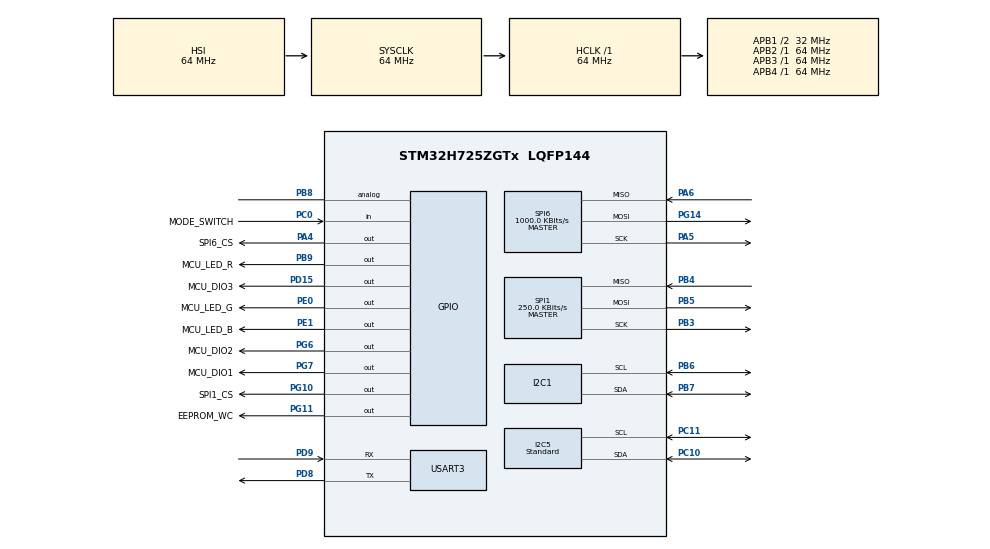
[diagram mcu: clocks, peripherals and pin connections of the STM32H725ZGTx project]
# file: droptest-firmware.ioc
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FREERTOS.INCLUDE_vTaskDelayUntil=1
FREERTOS.Tasks01=defaultTask,0,3072,StartDefaultTask,Default,NULL,Dynamic,NULL,NULL
I2C1.Timing=0x00707CBB
I2C5.I2C_Speed_Mode=I2C_Standard
I2C5.Timing=0x00707CBB
Mcu.Family=STM32H7
Mcu.Name=STM32H725ZGTx
Mcu.Package=LQFP144
NVIC.PriorityGroup=NVIC_PRIORITYGROUP_4
PA4.GPIO_Label=SPI6_CS
PA4.Signal=GPIO_Output
PA5.Mode=Full_Duplex_Master
PA5.Signal=SPI6_SCK
PA6.GPIO_PuPd=GPIO_NOPULL
PA6.Mode=Full_Duplex_Master
PA6.Signal=SPI6_MISO
PB3(JTDO/TRACESWO).Mode=Full_Duplex_Master
PB3(JTDO/TRACESWO).Signal=SPI1_SCK
PB4(NJTRST).Mode=Full_Duplex_Master
PB4(NJTRST).Signal=SPI1_MISO
PB5.Mode=Full_Duplex_Master
PB5.Signal=SPI1_MOSI
PB6.Mode=I2C
PB6.Signal=I2C1_SCL
PB7.Mode=I2C
PB7.Signal=I2C1_SDA
PB8.Signal=GPIO_Analog
PB9.GPIO_Label=MCU_LED_R
PB9.Signal=GPIO_Output
PC0.GPIO_Label=MODE_SWITCH
PC0.Signal=GPIO_Input
PC10.GPIO_Pu=GPIO_PULLUP
PC10.GPIO_Speed=GPIO_SPEED_FREQ_VERY_HIGH
PC10.Mode=I2C
PC10.Signal=I2C5_SDA
PC11.GPIO_Pu=GPIO_PULLUP
PC11.GPIO_Speed=GPIO_SPEED_FREQ_VERY_HIGH
PC11.Mode=I2C
PC11.Signal=I2C5_SCL
PD15.GPIO_Label=MCU_DIO3
PD15.Signal=GPIO_Output
PD8.Mode=Asynchronous
PD8.Signal=USART3_TX
PD9.Mode=Asynchronous
PD9.Signal=USART3_RX
PE0.GPIO_Label=MCU_LED_G
PE0.Signal=GPIO_Output
PE1.GPIO_Label=MCU_LED_B
PE1.Signal=GPIO_Output
PE11.Signal=SPI4_NSS
PE12.Signal=SPI4_SCK
PG10.GPIO_Label=SPI1_CS
PG10.Signal=GPIO_Output
PG11.GPIO_Label=EEPROM_WC
PG11.Signal=GPIO_Output
PG14.Mode=Full_Duplex_Master
PG14.Signal=SPI6_MOSI
PG6.GPIO_Label=MCU_DIO2
PG6.Signal=GPIO_Output
PG7.GPIO_Label=MCU_DIO1
PG7.Signal=GPIO_Output
PH0-OSC_IN.Mode=HSE-External-Oscillator
PH0-OSC_IN.Signal=RCC_OSC_IN
PH1-OSC_OUT.Mode=HSE-External-Oscillator
PH1-OSC_OUT.Signal=RCC_OSC_OUT
ProjectManager.HeapSize=0x200
ProjectManager.StackSize=0x400
ProjectManager.TargetToolchain=STM32CubeIDE
RCC.ADCFreq_Value=129000000
RCC.APB1Freq_Value=32000000
RCC.APB2Freq_Value=64000000
RCC.APB3Freq_Value=64000000
RCC.APB4Freq_Value=64000000
RCC.CortexFreq_Value=64000000
RCC.D2PPRE1=RCC_APB1_DIV2
RCC.DIVM1=4
RCC.DIVN1=12
RCC.DIVQ1=3
RCC.HCLKFreq_Value=64000000
RCC.PLLFRACN=0
RCC.SYSCLKFreq_VALUE=64000000
RCC.USBFreq_Value=64000000
SPI1.BaudRatePrescaler=SPI_BAUDRATEPRESCALER_256
SPI1.CLKPhase=SPI_PHASE_1EDGE
SPI1.CLKPolarity=SPI_POLARITY_LOW
SPI1.CalculateBaudRate=250.0 KBits/s
SPI1.DataSize=SPI_DATASIZE_8BIT
SPI1.Direction=SPI_DIRECTION_2LINES
SPI1.Mode=SPI_MODE_MASTER
SPI1.VirtualType=VM_MASTER
SPI6.BaudRatePrescaler=SPI_BAUDRATEPRESCALER_64
SPI6.CLKPhase=SPI_PHASE_1EDGE
SPI6.CLKPolarity=SPI_POLARITY_LOW
SPI6.CalculateBaudRate=1000.0 KBits/s
SPI6.DataSize=SPI_DATASIZE_8BIT
SPI6.Direction=SPI_DIRECTION_2LINES
SPI6.FirstBit=SPI_FIRSTBIT_MSB
SPI6.Mode=SPI_MODE_MASTER
SPI6.VirtualType=VM_MASTER
USART3.VirtualMode-Asynchronous=VM_ASYNC
VP_FREERTOS_VS_CMSIS_V1.Mode=CMSIS_V1
VP_PWR_V_PVD_IN.Mode=Mode_PVD_Int
board=custom

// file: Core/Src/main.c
/* USER CODE BEGIN Header */
/**
  ******************************************************************************
  * @file           : main.c
  * @brief          : Main program body
  ******************************************************************************
  * @attention
  *
  * Copyright (c) 2024 STMicroelectronics.
  * All rights reserved.
  *
  * This software is licensed under terms that can be found in the LICENSE file
  * in the root directory of this software component.
  * If no LICENSE file comes with this software, it is provided AS-IS.
  *
  ******************************************************************************
  */
/* USER CODE END Header */
#include "main.h"
#include "cmsis_os.h"

/* USER CODE BEGIN Includes */
#include "LSM6DSO32XTR.h"
#include "LPS22HBTR.h"
#include "W25N01GV.h"
/* USER CODE END Includes */

I2C_HandleTypeDef hi2c1;
I2C_HandleTypeDef hi2c5;

SPI_HandleTypeDef hspi1;
SPI_HandleTypeDef hspi6;

UART_HandleTypeDef huart3;

osThreadId defaultTaskHandle;

void SystemClock_Config(void);
static void MX_GPIO_Init(void);
static void MX_I2C1_Init(void);
static void MX_SPI1_Init(void);
static void MX_I2C5_Init(void);
static void MX_SPI6_Init(void);
static void MX_USART3_UART_Init(void);
void StartDefaultTask(void const * argument);

int main(void)
{

  /* MCU Configuration--------------------------------------------------------*/

  /* Reset of all peripherals, Initializes the Flash interface and the Systick. */
  HAL_Init();

  /* Configure the system clock */
  SystemClock_Config();

  /* Initialize all configured peripherals */
  MX_GPIO_Init();
  MX_I2C1_Init();
  MX_SPI1_Init();
  MX_I2C5_Init();
  MX_SPI6_Init();
  MX_USART3_UART_Init();

  /* Create the thread(s) */
  /* definition and creation of defaultTask */
  osThreadDef(defaultTask, StartDefaultTask, osPriorityNormal, 0, 3072);
  defaultTaskHandle = osThreadCreate(osThread(defaultTask), NULL);

  /* Start scheduler */
  osKernelStart();

  /* We should never get here as control is now taken by the scheduler */
  /* Infinite loop */
  while (1)
  {

  }
}

void SystemClock_Config(void)
{
  RCC_OscInitTypeDef RCC_OscInitStruct = {0};
  RCC_ClkInitTypeDef RCC_ClkInitStruct = {0};

  /** Supply configuration update enable
  */
  HAL_PWREx_ConfigSupply(PWR_DIRECT_SMPS_SUPPLY);

  /** Configure the main internal regulator output voltage
  */
  __HAL_PWR_VOLTAGESCALING_CONFIG(PWR_REGULATOR_VOLTAGE_SCALE3);

  while(!__HAL_PWR_GET_FLAG(PWR_FLAG_VOSRDY)) {}

  /** Initializes the RCC Oscillators according to the specified parameters
  * in the RCC_OscInitTypeDef structure.
  */
  RCC_OscInitStruct.OscillatorType = RCC_OSCILLATORTYPE_HSI;
  RCC_OscInitStruct.HSIState = RCC_HSI_DIV1;
  RCC_OscInitStruct.HSICalibrationValue = 64;
  RCC_OscInitStruct.PLL.PLLState = RCC_PLL_ON;
  RCC_OscInitStruct.PLL.PLLSource = RCC_PLLSOURCE_HSI;
  RCC_OscInitStruct.PLL.PLLM = 4;
  RCC_OscInitStruct.PLL.PLLN = 12;
  RCC_OscInitStruct.PLL.PLLP = 2;
  RCC_OscInitStruct.PLL.PLLQ = 3;
  RCC_OscInitStruct.PLL.PLLR = 2;
  RCC_OscInitStruct.PLL.PLLRGE = RCC_PLL1VCIRANGE_3;
  RCC_OscInitStruct.PLL.PLLVCOSEL = RCC_PLL1VCOWIDE;
  RCC_OscInitStruct.PLL.PLLFRACN = 0;
  if (HAL_RCC_OscConfig(&RCC_OscInitStruct) != HAL_OK)
  {
    Error_Handler();
  }

  /** Initializes the CPU, AHB and APB buses clocks
  */
  RCC_ClkInitStruct.ClockType = RCC_CLOCKTYPE_HCLK|RCC_CLOCKTYPE_SYSCLK
                              |RCC_CLOCKTYPE_PCLK1|RCC_CLOCKTYPE_PCLK2
                              |RCC_CLOCKTYPE_D3PCLK1|RCC_CLOCKTYPE_D1PCLK1;
  RCC_ClkInitStruct.SYSCLKSource = RCC_SYSCLKSOURCE_HSI;
  RCC_ClkInitStruct.SYSCLKDivider = RCC_SYSCLK_DIV1;
  RCC_ClkInitStruct.AHBCLKDivider = RCC_HCLK_DIV1;
  RCC_ClkInitStruct.APB3CLKDivider = RCC_APB3_DIV1;
  RCC_ClkInitStruct.APB1CLKDivider = RCC_APB1_DIV2;
  RCC_ClkInitStruct.APB2CLKDivider = RCC_APB2_DIV1;
  RCC_ClkInitStruct.APB4CLKDivider = RCC_APB4_DIV1;

  if (HAL_RCC_ClockConfig(&RCC_ClkInitStruct, FLASH_LATENCY_1) != HAL_OK)
  {
    Error_Handler();
  }
}

static void MX_I2C1_Init(void)
{

  hi2c1.Instance = I2C1;
  hi2c1.Init.Timing = 0x00707CBB;
  hi2c1.Init.OwnAddress1 = 0;
  hi2c1.Init.AddressingMode = I2C_ADDRESSINGMODE_7BIT;
  hi2c1.Init.DualAddressMode = I2C_DUALADDRESS_DISABLE;
  hi2c1.Init.OwnAddress2 = 0;
  hi2c1.Init.OwnAddress2Masks = I2C_OA2_NOMASK;
  hi2c1.Init.GeneralCallMode = I2C_GENERALCALL_DISABLE;
  hi2c1.Init.NoStretchMode = I2C_NOSTRETCH_DISABLE;
  if (HAL_I2C_Init(&hi2c1) != HAL_OK)
  {
    Error_Handler();
  }

  /** Configure Analogue filter
  */
  if (HAL_I2CEx_ConfigAnalogFilter(&hi2c1, I2C_ANALOGFILTER_ENABLE) != HAL_OK)
  {
    Error_Handler();
  }

  /** Configure Digital filter
  */
  if (HAL_I2CEx_ConfigDigitalFilter(&hi2c1, 0) != HAL_OK)
  {
    Error_Handler();
  }

}

static void MX_I2C5_Init(void)
{

  hi2c5.Instance = I2C5;
  hi2c5.Init.Timing = 0x00707CBB;
  hi2c5.Init.OwnAddress1 = 0;
  hi2c5.Init.AddressingMode = I2C_ADDRESSINGMODE_7BIT;
  hi2c5.Init.DualAddressMode = I2C_DUALADDRESS_DISABLE;
  hi2c5.Init.OwnAddress2 = 0;
  hi2c5.Init.OwnAddress2Masks = I2C_OA2_NOMASK;
  hi2c5.Init.GeneralCallMode = I2C_GENERALCALL_DISABLE;
  hi2c5.Init.NoStretchMode = I2C_NOSTRETCH_DISABLE;
  if (HAL_I2C_Init(&hi2c5) != HAL_OK)
  {
    Error_Handler();
  }

  /** Configure Analogue filter
  */
  if (HAL_I2CEx_ConfigAnalogFilter(&hi2c5, I2C_ANALOGFILTER_ENABLE) != HAL_OK)
  {
    Error_Handler();
  }

  /** Configure Digital filter
  */
  if (HAL_I2CEx_ConfigDigitalFilter(&hi2c5, 0) != HAL_OK)
  {
    Error_Handler();
  }

}

static void MX_SPI1_Init(void)
{

  /* SPI1 parameter configuration*/
  hspi1.Instance = SPI1;
  hspi1.Init.Mode = SPI_MODE_MASTER;
  hspi1.Init.Direction = SPI_DIRECTION_2LINES;
  hspi1.Init.DataSize = SPI_DATASIZE_8BIT;
  hspi1.Init.CLKPolarity = SPI_POLARITY_LOW;
  hspi1.Init.CLKPhase = SPI_PHASE_1EDGE;
  hspi1.Init.NSS = SPI_NSS_SOFT;
  hspi1.Init.BaudRatePrescaler = SPI_BAUDRATEPRESCALER_256;
  hspi1.Init.FirstBit = SPI_FIRSTBIT_MSB;
  hspi1.Init.TIMode = SPI_TIMODE_DISABLE;
  hspi1.Init.CRCCalculation = SPI_CRCCALCULATION_DISABLE;
  hspi1.Init.CRCPolynomial = 0x0;
  hspi1.Init.NSSPMode = SPI_NSS_PULSE_ENABLE;
  hspi1.Init.NSSPolarity = SPI_NSS_POLARITY_LOW;
  hspi1.Init.FifoThreshold = SPI_FIFO_THRESHOLD_01DATA;
  hspi1.Init.TxCRCInitializationPattern = SPI_CRC_INITIALIZATION_ALL_ZERO_PATTERN;
  hspi1.Init.RxCRCInitializationPattern = SPI_CRC_INITIALIZATION_ALL_ZERO_PATTERN;
  hspi1.Init.MasterSSIdleness = SPI_MASTER_SS_IDLENESS_00CYCLE;
  hspi1.Init.MasterInterDataIdleness = SPI_MASTER_INTERDATA_IDLENESS_00CYCLE;
  hspi1.Init.MasterReceiverAutoSusp = SPI_MASTER_RX_AUTOSUSP_DISABLE;
  hspi1.Init.MasterKeepIOState = SPI_MASTER_KEEP_IO_STATE_DISABLE;
  hspi1.Init.IOSwap = SPI_IO_SWAP_DISABLE;
  if (HAL_SPI_Init(&hspi1) != HAL_OK)
  {
    Error_Handler();
  }

}

static void MX_SPI6_Init(void)
{

  /* SPI6 parameter configuration*/
  hspi6.Instance = SPI6;
  hspi6.Init.Mode = SPI_MODE_MASTER;
  hspi6.Init.Direction = SPI_DIRECTION_2LINES;
  hspi6.Init.DataSize = SPI_DATASIZE_8BIT;
  hspi6.Init.CLKPolarity = SPI_POLARITY_LOW;
  hspi6.Init.CLKPhase = SPI_PHASE_1EDGE;
  hspi6.Init.NSS = SPI_NSS_SOFT;
  hspi6.Init.BaudRatePrescaler = SPI_BAUDRATEPRESCALER_64;
  hspi6.Init.FirstBit = SPI_FIRSTBIT_MSB;
  hspi6.Init.TIMode = SPI_TIMODE_DISABLE;
  hspi6.Init.CRCCalculation = SPI_CRCCALCULATION_DISABLE;
  hspi6.Init.CRCPolynomial = 0x0;
  hspi6.Init.NSSPMode = SPI_NSS_PULSE_ENABLE;
  hspi6.Init.NSSPolarity = SPI_NSS_POLARITY_LOW;
  hspi6.Init.FifoThreshold = SPI_FIFO_THRESHOLD_01DATA;
  hspi6.Init.TxCRCInitializationPattern = SPI_CRC_INITIALIZATION_ALL_ZERO_PATTERN;
  hspi6.Init.RxCRCInitializationPattern = SPI_CRC_INITIALIZATION_ALL_ZERO_PATTERN;
  hspi6.Init.MasterSSIdleness = SPI_MASTER_SS_IDLENESS_00CYCLE;
  hspi6.Init.MasterInterDataIdleness = SPI_MASTER_INTERDATA_IDLENESS_00CYCLE;
  hspi6.Init.MasterReceiverAutoSusp = SPI_MASTER_RX_AUTOSUSP_DISABLE;
  hspi6.Init.MasterKeepIOState = SPI_MASTER_KEEP_IO_STATE_DISABLE;
  hspi6.Init.IOSwap = SPI_IO_SWAP_DISABLE;
  if (HAL_SPI_Init(&hspi6) != HAL_OK)
  {
    Error_Handler();
  }

}

static void MX_USART3_UART_Init(void)
{

  huart3.Instance = USART3;
  huart3.Init.BaudRate = 115200;
  huart3.Init.WordLength = UART_WORDLENGTH_8B;
  huart3.Init.StopBits = UART_STOPBITS_1;
  huart3.Init.Parity = UART_PARITY_NONE;
  huart3.Init.Mode = UART_MODE_TX_RX;
  huart3.Init.HwFlowCtl = UART_HWCONTROL_NONE;
  huart3.Init.OverSampling = UART_OVERSAMPLING_16;
  huart3.Init.OneBitSampling = UART_ONE_BIT_SAMPLE_DISABLE;
  huart3.Init.ClockPrescaler = UART_PRESCALER_DIV1;
  huart3.AdvancedInit.AdvFeatureInit = UART_ADVFEATURE_NO_INIT;
  if (HAL_UART_Init(&huart3) != HAL_OK)
  {
    Error_Handler();
  }
  if (HAL_UARTEx_SetTxFifoThreshold(&huart3, UART_TXFIFO_THRESHOLD_1_8) != HAL_OK)
  {
    Error_Handler();
  }
  if (HAL_UARTEx_SetRxFifoThreshold(&huart3, UART_RXFIFO_THRESHOLD_1_8) != HAL_OK)
  {
    Error_Handler();
  }
  if (HAL_UARTEx_DisableFifoMode(&huart3) != HAL_OK)
  {
    Error_Handler();
  }

}

static void MX_GPIO_Init(void)
{
  GPIO_InitTypeDef GPIO_InitStruct = {0};

  /* GPIO Ports Clock Enable */
  __HAL_RCC_GPIOH_CLK_ENABLE();
  __HAL_RCC_GPIOC_CLK_ENABLE();
  __HAL_RCC_GPIOA_CLK_ENABLE();
  __HAL_RCC_GPIOE_CLK_ENABLE();
  __HAL_RCC_GPIOD_CLK_ENABLE();
  __HAL_RCC_GPIOG_CLK_ENABLE();
  __HAL_RCC_GPIOB_CLK_ENABLE();

  /*Configure GPIO pin Output Level */
  HAL_GPIO_WritePin(SPI6_CS_GPIO_Port, SPI6_CS_Pin, GPIO_PIN_RESET);

  /*Configure GPIO pin Output Level */
  HAL_GPIO_WritePin(MCU_DIO3_GPIO_Port, MCU_DIO3_Pin, GPIO_PIN_RESET);

  /*Configure GPIO pin Output Level */
  HAL_GPIO_WritePin(GPIOG, MCU_DIO2_Pin|MCU_DIO1_Pin|SPI1_CS_Pin|EEPROM_WC_Pin, GPIO_PIN_RESET);

  /*Configure GPIO pin Output Level */
  HAL_GPIO_WritePin(MCU_LED_R_GPIO_Port, MCU_LED_R_Pin, GPIO_PIN_RESET);

  /*Configure GPIO pin Output Level */
  HAL_GPIO_WritePin(GPIOE, MCU_LED_G_Pin|MCU_LED_B_Pin, GPIO_PIN_RESET);

  /*Configure GPIO pin : MODE_SWITCH_Pin */
  GPIO_InitStruct.Pin = MODE_SWITCH_Pin;
  GPIO_InitStruct.Mode = GPIO_MODE_INPUT;
  GPIO_InitStruct.Pull = GPIO_NOPULL;
  HAL_GPIO_Init(MODE_SWITCH_GPIO_Port, &GPIO_InitStruct);

  /*Configure GPIO pin : SPI6_CS_Pin */
  GPIO_InitStruct.Pin = SPI6_CS_Pin;
  GPIO_InitStruct.Mode = GPIO_MODE_OUTPUT_PP;
  GPIO_InitStruct.Pull = GPIO_NOPULL;
  GPIO_InitStruct.Speed = GPIO_SPEED_FREQ_LOW;
  HAL_GPIO_Init(SPI6_CS_GPIO_Port, &GPIO_InitStruct);

  /*Configure GPIO pins : PE11 PE12 */
  GPIO_InitStruct.Pin = GPIO_PIN_11|GPIO_PIN_12;
  GPIO_InitStruct.Mode = GPIO_MODE_AF_PP;
  GPIO_InitStruct.Pull = GPIO_NOPULL;
  GPIO_InitStruct.Speed = GPIO_SPEED_FREQ_LOW;
  GPIO_InitStruct.Alternate = GPIO_AF5_SPI4;
  HAL_GPIO_Init(GPIOE, &GPIO_InitStruct);

  /*Configure GPIO pin : MCU_DIO3_Pin */
  GPIO_InitStruct.Pin = MCU_DIO3_Pin;
  GPIO_InitStruct.Mode = GPIO_MODE_OUTPUT_PP;
  GPIO_InitStruct.Pull = GPIO_NOPULL;
  GPIO_InitStruct.Speed = GPIO_SPEED_FREQ_LOW;
  HAL_GPIO_Init(MCU_DIO3_GPIO_Port, &GPIO_InitStruct);

  /*Configure GPIO pins : MCU_DIO2_Pin MCU_DIO1_Pin SPI1_CS_Pin EEPROM_WC_Pin */
  GPIO_InitStruct.Pin = MCU_DIO2_Pin|MCU_DIO1_Pin|SPI1_CS_Pin|EEPROM_WC_Pin;
  GPIO_InitStruct.Mode = GPIO_MODE_OUTPUT_PP;
  GPIO_InitStruct.Pull = GPIO_NOPULL;
  GPIO_InitStruct.Speed = GPIO_SPEED_FREQ_LOW;
  HAL_GPIO_Init(GPIOG, &GPIO_InitStruct);

  /*Configure GPIO pin : PB8 */
  GPIO_InitStruct.Pin = GPIO_PIN_8;
  GPIO_InitStruct.Mode = GPIO_MODE_ANALOG;
  GPIO_InitStruct.Pull = GPIO_NOPULL;
  HAL_GPIO_Init(GPIOB, &GPIO_InitStruct);

  /*Configure GPIO pin : MCU_LED_R_Pin */
  GPIO_InitStruct.Pin = MCU_LED_R_Pin;
  GPIO_InitStruct.Mode = GPIO_MODE_OUTPUT_PP;
  GPIO_InitStruct.Pull = GPIO_NOPULL;
  GPIO_InitStruct.Speed = GPIO_SPEED_FREQ_LOW;
  HAL_GPIO_Init(MCU_LED_R_GPIO_Port, &GPIO_InitStruct);

  /*Configure GPIO pins : MCU_LED_G_Pin MCU_LED_B_Pin */
  GPIO_InitStruct.Pin = MCU_LED_G_Pin|MCU_LED_B_Pin;
  GPIO_InitStruct.Mode = GPIO_MODE_OUTPUT_PP;
  GPIO_InitStruct.Pull = GPIO_NOPULL;
  GPIO_InitStruct.Speed = GPIO_SPEED_FREQ_LOW;
  HAL_GPIO_Init(GPIOE, &GPIO_InitStruct);

}

/* USER CODE BEGIN 4 */
// Data structure:
// 64 bit time stamp - Milliseconds since program start
// 32 bit float - Pressure
// 32 bit float - Temperature
// 32 bit float*3 - Accel X, Y, Z
// 32 bit float*3 - Gyro X, Y, Z
// Total size: 8 + 4 + 4 + 12 + 12 = 40 Bytes per reading
// To do this simply, we use a union, which allows us to mix data types and access the raw bytes of the data it stores
// There are some great videos on YouTube explaining how this works
union Data {
    uint8_t bytes[40];
    struct {
        //uint16_t header;
    	uint64_t timestamp;
        float pressure;
        float temperature;
        float accel[3];
        float gyro[3];
    } values;
};

uint64_t getTimestamp(void) {
	uint32_t timestamp = HAL_GetTick();
	return (uint64_t)timestamp;
}
/* USER CODE END 4 */

void StartDefaultTask(void const * argument)
{
  /* USER CODE BEGIN 5 */
  /* Infinite loop */
  TickType_t xLastWakeTime;
  const TickType_t xFrequency = 100; //Milliseconds
  xLastWakeTime = xTaskGetTickCount();
  float pres = 0.0;
  float temp = 0.0;
  #define block_offset (uint16_t)100*40
  Accel accel = {0};
  AngRate gyro = {0};

  IMU IMU1 = {0};
  IMU1.hi2c = &hi2c5;
  IMU1.I2C_TIMEOUT = 1000;
  IMU1.G_x_offset = 0;
  IMU1.G_y_offset = 0;
  IMU1.G_z_offset = 0;
  IMU1.XL_x_offset = 0;
  IMU1.XL_y_offset = 0;
  IMU1.XL_z_offset = 0;

  BAR BAR1 = {0};
  BAR1.hspi = &hspi6;
  BAR1.SPI_TIMEOUT = 1000;
  BAR1.CS_GPIO_Port = GPIOA;
  BAR1.CS_GPIO_Pin = GPIO_PIN_4;
  BAR1.pres_offset = 0;
  BAR1.alt_offset = 0;

  union Data data;

  W25N01GV_Flash flash;
  init_flash(&flash, &hspi1, GPIOG, GPIO_PIN_10);

  if (IMU_init(&IMU1)) {
  	Error_Handler(); //We have not read the who am I register, so something is probably wrong
  }

  if (BAR_init(&BAR1)) {
	  Error_Handler(); //We have not read the who am I register, so something is probably wrong
  }

  // Detect if the jumper is on read or write mode
  if (HAL_GPIO_ReadPin(GPIOC, GPIO_PIN_0)) { // Read mode

	  //finish_flash_write(&flash); // Finish writing, if we haven't already
	  HAL_Delay(10000); // 10 second delay so that the client can setup
	  uint32_t page = 0;
	  uint8_t read_buffer[W25N01GV_BYTES_PER_PAGE];  // W25N01GV_BYTES_PER_PAGE == 2048 == 2KB
	  reset_flash_read_pointer(&flash);

	  while (page < flash.current_page) {
		  read_next_2KB_from_flash(&flash, read_buffer);
		  HAL_UART_Transmit(&huart3, read_buffer, sizeof(read_buffer), 1000);
	  } // Break, we don't want to continue dumping flash

  } else { // Write mode

	  // Erase beginning flash contents
	  erase_flash(&flash);
	  add_test_delimiter(&flash);
	  // There's some weird behavior with the first bit of the flash memory, so this makes an offset
	  uint8_t flash_offset[block_offset] = {0x00};
	  write_to_flash(&flash, flash_offset, block_offset);
	  uint8_t data_start_header[10] = {0xff, 0x00, 0xff, 0x00, 0xff, 0x00, 0xff, 0x00, 0xff, 0x00};
	  write_to_flash(&flash, data_start_header, 10);

	  for(;;) {
		  vTaskDelayUntil(&xLastWakeTime, xFrequency);
		  BAR_getPres(&BAR1, &pres);
		  BAR_getTemp(&BAR1, &temp);
		  IMU_getAccel(&IMU1, &accel);
		  IMU_getAngRate(&IMU1, &gyro);
		  // See comment at union def for info on this data structure
		  //data.values.header = 0xffff;
		  data.values.timestamp = getTimestamp();
		  data.values.pressure = pres;
		  data.values.temperature = temp;
		  data.values.accel[0] = accel.XL_x;
		  data.values.accel[1] = accel.XL_y;
		  data.values.accel[2] = accel.XL_z;
		  data.values.gyro[0] = gyro.G_x;
		  data.values.gyro[1] = gyro.G_y;
		  data.values.gyro[2] = gyro.G_z;
		  write_to_flash(&flash, data.bytes, 40);
	  }
	  finish_flash_write(&flash);
  }
  /* USER CODE END 5 */
}

void Error_Handler(void)
{
  __disable_irq();
  while (1)
  {
  }
}
